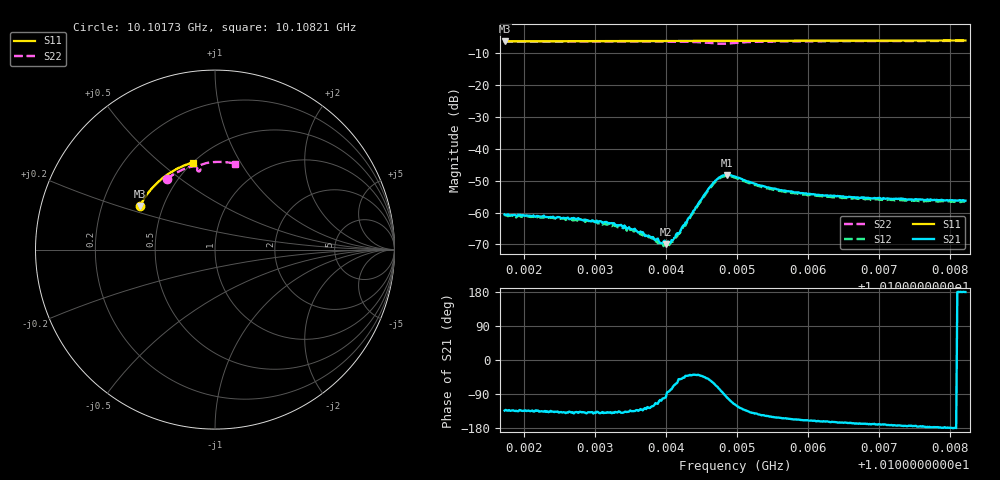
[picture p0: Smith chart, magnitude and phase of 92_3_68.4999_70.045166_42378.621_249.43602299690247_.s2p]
#  HZ  S  RI  R  50.00
! Rohde & Schwarz Vector Network Analyzer
! Rohde-Schwarz,ZNB20-2Port,1311601062101988,3.16
! Created: UTC 3/20/2024, 5:07:51 PM
! freq[Hz]  re:S11  im:S11  re:S21  im:S21  re:S12  im:S12  re:S22  im:S22
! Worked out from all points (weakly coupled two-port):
!   401 points, 10.10173 GHz to 10.10821 GHz, reference 50 ohm
!   highest |S21| = -48.18 dB at 10.10486 GHz (marker M1); lowest = -69.9 dB at 10.104 GHz (marker M2)
!   lowest |S11| = -6.3 dB at 10.10173 GHz (marker M3), VSWR 2.88, Z = 18.5 + j11.8 ohm
!   |S11| at or under -10 dB: nowhere
!   |S22| runs from -7.0 to -6.2 dB; largest |S21 - S12| = 0.0004
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1.010173e10  -0.4183 0.2433  -0.000641 -0.000678  -0.00055 -0.000728  -0.2699 0.3925
1.0102735e10  -0.3872 0.296  -0.000577 -0.000534  -0.000521 -0.000564  -0.215 0.4284
1.0102816e10  -0.3841 0.3  -0.000573 -0.000511  -0.000537 -0.000533  -0.2104 0.431
1.0103237e10  -0.369 0.3205  -0.000529 -0.000433  -0.000429 -0.000434  -0.1849 0.4434
1.0103399e10  -0.3627 0.328  -0.000427 -0.000372  -0.000397 -0.00043  -0.1748 0.4479
1.0103593e10  -0.3551 0.3371  -0.000341 -0.000377  -0.000313 -0.000388  -0.1622 0.4527
1.0103901e10  -0.3426 0.3511  -0.000113 -0.000332  -7.34e-05 -0.000323  -0.1414 0.4595
1.0103934e10  -0.3413 0.3526  -9.82e-05 -0.000315  -5.57e-05 -0.000342  -0.139 0.4601
1.0103998e10  -0.3386 0.3552  -4.29e-05 -0.000317  9.47e-06 -0.000336  -0.1341 0.4613
1.0104031e10  -0.3372 0.3568  3.65e-05 -0.000349  5.16e-05 -0.000335  -0.1317 0.4618
1.0104079e10  -0.3351 0.3588  8.54e-05 -0.000362  0.000103 -0.000336  -0.1279 0.4625
1.0104193e10  -0.3303 0.3637  0.000312 -0.000376  0.000326 -0.000341  -0.119 0.4638
1.0104549e10  -0.3145 0.3786  0.00137 -0.00141  0.00144 -0.0012  -0.0871 0.4562
1.0104663e10  -0.3092 0.3829  0.00147 -0.0025  0.00161 -0.00226  -0.0818 0.4456
1.010476e10  -0.3049 0.3868  0.000722 -0.00353  0.000983 -0.00334  -0.086 0.4367
1.0104857e10  -0.3006 0.3907  -0.000598 -0.00385  -0.000222 -0.00372  -0.0954 0.4373
1.0104971e10  -0.2954 0.3951  -0.00169 -0.00325  -0.00136 -0.00326  -0.0996 0.4478
1.0105392e10  -0.2753 0.4107  -0.00214 -0.00138  -0.00192 -0.00151  -0.074 0.4741
1.0105619e10  -0.2641 0.4188  -0.002 -0.00103  -0.00184 -0.00113  -0.0574 0.4796
1.0106056e10  -0.2417 0.4332  -0.00182 -0.000651  -0.0017 -0.00078  -0.0269 0.4856
1.0107142e10  -0.1836 0.4635  -0.00164 -0.000235  -0.00155 -0.000388  0.0451 0.4879
1.0108211e10  -0.1227 0.4852  -0.00154 1.49e-05  -0.00148 -0.000134  0.1134 0.4793
